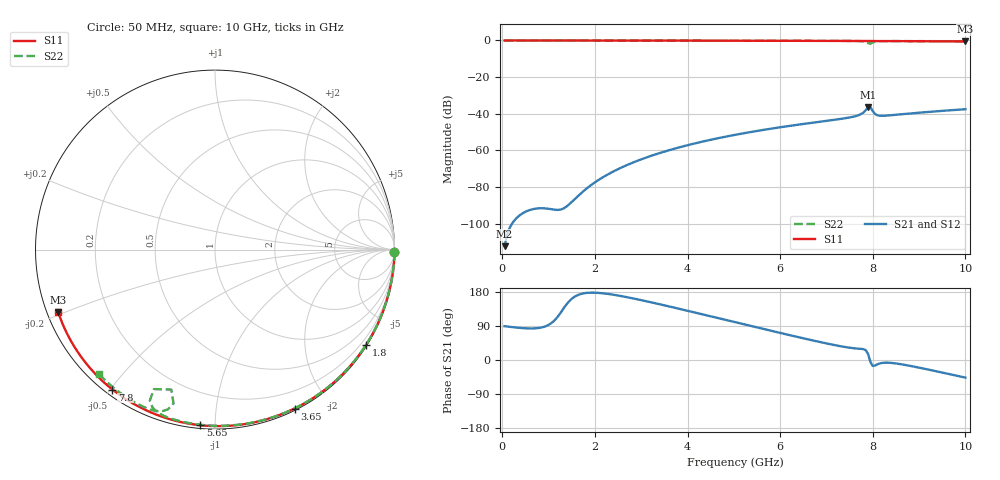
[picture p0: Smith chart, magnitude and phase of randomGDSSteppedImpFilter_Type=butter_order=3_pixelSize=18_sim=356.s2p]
! freq	dB(S11)	phase(S11)	dB(S12)	phase(S12)
!  dB(S21)	phase(S21)	dB(S22)	phase(S22)
!S-par simulation data
#  GHz  S  DB  R 50
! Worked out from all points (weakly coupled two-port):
!   200 points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, 50 MHz to 10 GHz, reference 50 ohm
!   highest |S21| = -36.35 dB at 7.9 GHz (marker M1); lowest = -112.3 dB at 50 MHz (marker M2)
!   lowest |S11| = -0.5 dB at 10 GHz (marker M3), VSWR 32.70, Z = 1.59 - j9.56 ohm
!   |S11| at or under -10 dB: nowhere
!   |S22| runs from -1.8 to 0.0 dB; largest |S21 - S12| = 0
!   S11 on the Smith chart (normalised r, x): 50 MHz: open; 1.8 GHz: 0.03, -3.47; 3.65 GHz: 0.02, -1.62; 5.65 GHz: 0.02, -0.92; 7.8 GHz: 0.02, -0.51; 10 GHz: 0.03, -0.19
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0.05  -0.00 -0.9  -112.32 89.2  -112.32 89.2  -0.00 -0.8
0.9  -0.02 -16.2  -91.64 87.5  -91.64 87.5  -0.02 -13.8
1.75  -0.04 -31.2  -82.31 175.7  -82.31 175.7  -0.03 -26.6
1.8  -0.04 -32.1  -81.26 176.7  -81.26 176.7  -0.03 -27.4
1.85  -0.04 -33.0  -80.25 177.3  -80.25 177.3  -0.04 -28.1
2.2  -0.05 -39.1  -74.28 175.6  -74.28 175.6  -0.04 -33.3
2.6  -0.06 -45.9  -69.07 167.9  -69.07 167.9  -0.05 -39.2
3.4  -0.08 -59.3  -61.46 147.1  -61.46 147.1  -0.07 -50.7
3.65  -0.09 -63.4  -59.57 140.0  -59.57 140.0  -0.07 -54.2
5.05  -0.13 -85.6  -51.42 99.1  -51.42 99.1  -0.11 -73.4
5.65  -0.16 -94.7  -48.78 81.6  -48.78 81.6  -0.13 -81.3
6.7  -0.22 -110.3  -44.91 51.7  -44.91 51.7  -0.18 -94.8
7.55  -0.28 -122.6  -41.80 31.6  -41.80 31.6  -0.26 -106.2
7.7  -0.29 -124.8  -40.74 29.9  -40.74 29.9  -0.32 -109.0
7.8  -0.30 -126.2  -39.31 28.7  -39.31 28.7  -0.49 -111.6
7.9  -0.30 -127.7  -36.35 15.3  -36.35 15.3  -1.43 -113.7
7.95  -0.31 -128.4  -36.39 -5.6  -36.39 -5.6  -1.76 -107.4
8  -0.31 -129.1  -38.61 -15.7  -38.61 -15.7  -1.03 -105.1
8.05  -0.32 -129.8  -40.18 -14.4  -40.18 -14.4  -0.65 -106.4
8.1  -0.32 -130.6  -40.86 -11.3  -40.86 -11.3  -0.49 -107.9
8.35  -0.34 -134.1  -40.92 -7.2  -40.92 -7.2  -0.34 -112.6
10  -0.53 -158.3  -37.54 -46.5  -37.54 -46.5  -0.47 -133.1
